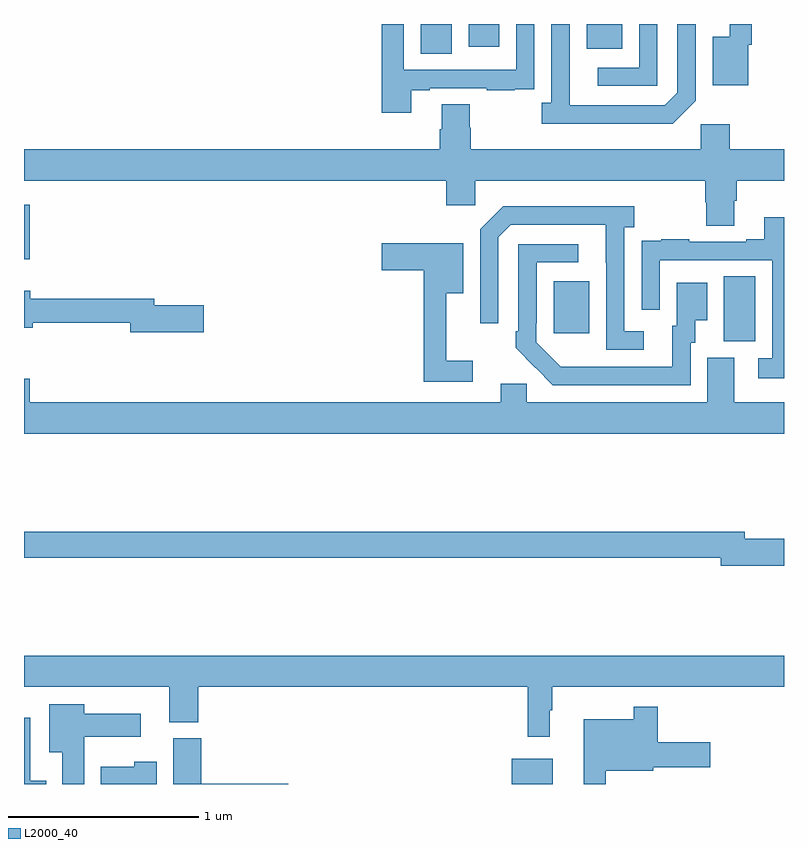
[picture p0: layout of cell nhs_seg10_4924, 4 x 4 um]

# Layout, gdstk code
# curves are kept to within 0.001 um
import gdstk
lib = gdstk.Library(unit=1e-6, precision=1e-09)
def R(c, l, rs):  # rectangles x0, y0, x1, y1
    for r in rs: c.add(gdstk.rectangle(r[:2], r[2:], *l))
def P(c, l, *ps):  # polygons
    for p in ps: c.add(gdstk.Polygon(p, *l))
L2000_40 = (2000, 40)

nhs_seg10_4924 = lib.new_cell('nhs_seg10_4924')
R(nhs_seg10_4924, L2000_40, [(397.568,1270.5,397.783,1270.633), (398.684,1272.829,398.848,1273.172), (397.787,1272.873,397.975,1273.147), (395,1273.262,395.03,1273.549), (397.088,1274.344,397.252,1274.5), (397.961,1274.369,398.149,1274.5), (397.34,1274.379,397.501,1274.5)])
P(nhs_seg10_4924, L2000_40, [(398.812,1274.391),(398.831,1274.391),(398.831,1274.5),(398.714,1274.5),(398.714,1274.434),(398.624,1274.434),(398.624,1274.177),(398.812,1274.177)],
  [(397.039,1274.151),(397.135,1274.151),(397.135,1274.163),(397.435,1274.163),(397.435,1274.151),(397.583,1274.151),(397.583,1274.157),(397.685,1274.157),(397.685,1274.266),(397.686,1274.266),(397.686,1274.5),(397.59,1274.5),(397.59,1274.259),(396.999,1274.259),(396.999,1274.5),(396.883,1274.5),(396.883,1274.034),(397.039,1274.034)],
  [(398.535,1274.097),(398.535,1274.5),(398.439,1274.5),(398.439,1274.139),(398.373,1274.073),(397.873,1274.073),(397.872,1274.5),(397.776,1274.5),(397.776,1274.086),(397.725,1274.086),(397.725,1273.976),(398.414,1273.976)],
  [(398.334,1274.5),(398.238,1274.5),(398.238,1274.271),(398.019,1274.271),(398.019,1274.175),(398.334,1274.175)],
  [(398.737,1273.57),(398.75,1273.57),(398.75,1273.676),(399,1273.676),(399,1273.84),(398.714,1273.84),(398.714,1273.972),(398.562,1273.972),(398.562,1273.84),(397.352,1273.84),(397.352,1273.953),(397.347,1273.953),(397.347,1274.078),(397.199,1274.078),(397.199,1273.946),(397.187,1273.946),(397.187,1273.84),(395,1273.84),(395,1273.676),(397.223,1273.676),(397.223,1273.545),(397.374,1273.545),(397.374,1273.676),(398.585,1273.676),(398.585,1273.563),(398.59,1273.563),(398.59,1273.438),(398.737,1273.438)],
  [(398.263,1272.882),(398.16,1272.882),(398.16,1273.43),(398.212,1273.43),(398.212,1273.54),(397.522,1273.54),(397.401,1273.419),(397.401,1272.924),(397.497,1272.924),(397.497,1273.377),(397.563,1273.443),(398.063,1273.443),(398.064,1272.786),(398.263,1272.786)],
  [(399,1273.483),(398.897,1273.483),(398.897,1273.366),(398.801,1273.366),(398.801,1273.353),(398.501,1273.353),(398.501,1273.366),(398.353,1273.366),(398.353,1273.359),(398.251,1273.359),(398.251,1273.25),(398.25,1273.25),(398.25,1272.996),(398.346,1272.996),(398.346,1273.257),(398.937,1273.257),(398.937,1272.741),(398.865,1272.741),(398.865,1272.636),(399,1272.636)],
  [(397.363,1272.727),(397.223,1272.727),(397.223,1273.082),(397.312,1273.082),(397.312,1273.347),(396.882,1273.347),(396.882,1273.205),(397.105,1273.205),(397.105,1272.618),(397.363,1272.618)],
  [(398.508,1272.822),(398.533,1272.822),(398.533,1272.941),(398.596,1272.941),(398.596,1273.138),(398.435,1273.138),(398.435,1272.912),(398.411,1272.912),(398.411,1272.696),(397.824,1272.697),(397.695,1272.825),(397.695,1272.925),(397.698,1272.925),(397.698,1273.245),(397.918,1273.245),(397.918,1273.341),(397.602,1273.341),(397.602,1272.883),(397.587,1272.883),(397.587,1272.795),(397.784,1272.6),(398.508,1272.6)],
  [(395.947,1273.019),(395.686,1273.019),(395.686,1273.055),(395.032,1273.055),(395.032,1273.096),(395,1273.096),(395,1272.902),(395.045,1272.902),(395.045,1272.927),(395.558,1272.927),(395.558,1272.877),(395.947,1272.877)],
  [(399,1272.508),(398.737,1272.508),(398.737,1272.744),(398.597,1272.744),(398.597,1272.508),(397.647,1272.508),(397.647,1272.606),(397.508,1272.606),(397.508,1272.508),(395.03,1272.508),(395.03,1272.632),(395,1272.632),(395,1272.344),(399,1272.344)],
  [(399,1271.792),(398.794,1271.792),(398.794,1271.828),(395,1271.828),(395,1271.692),(398.666,1271.692),(398.666,1271.65),(399,1271.65)],
  [(397.768,1270.889),(397.78,1270.889),(397.78,1271.012),(399,1271.012),(399,1271.176),(395,1271.176),(395,1271.012),(395.765,1271.012),(395.765,1270.825),(395.918,1270.825),(395.918,1271.012),(397.651,1271.012),(397.651,1270.749),(397.768,1270.749)],
  [(395.317,1270.748),(395.614,1270.748),(395.614,1270.87),(395.317,1270.87),(395.317,1270.921),(395.132,1270.921),(395.132,1270.667),(395.201,1270.667),(395.201,1270.5),(395.317,1270.5)],
  [(398.063,1270.571),(398.313,1270.571),(398.313,1270.589),(398.611,1270.589),(398.611,1270.719),(398.336,1270.719),(398.336,1270.906),(398.208,1270.906),(398.208,1270.84),(397.946,1270.84),(397.946,1270.5),(398.063,1270.5)],
  [(395.116,1270.516),(395.032,1270.516),(395.032,1270.849),(395,1270.849),(395,1270.5),(395.116,1270.5)],
  [(396.391,1270.502),(395.933,1270.502),(395.933,1270.74),(395.786,1270.74),(395.786,1270.5),(396.391,1270.5)],
  [(395.698,1270.618),(395.58,1270.618),(395.58,1270.591),(395.405,1270.591),(395.405,1270.5),(395.698,1270.5)])

lib.write_gds('nhs_seg10_4924.gds')
